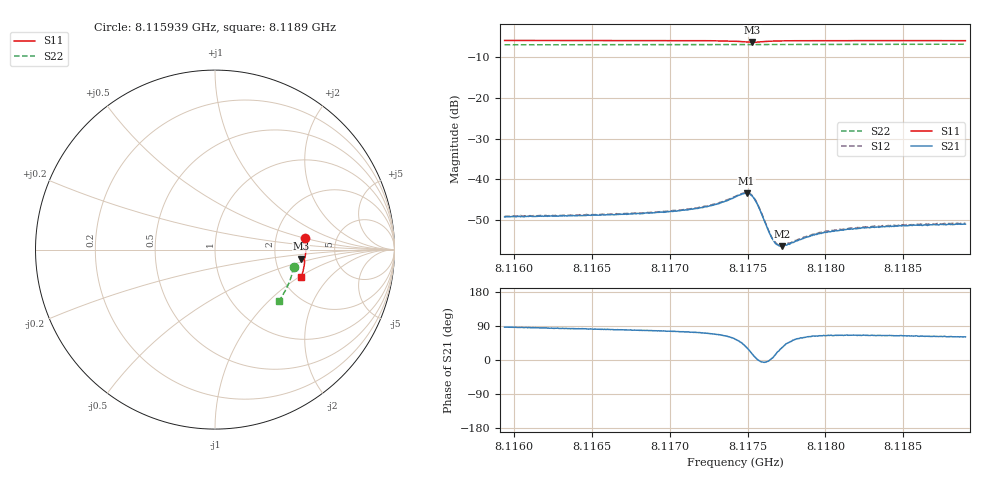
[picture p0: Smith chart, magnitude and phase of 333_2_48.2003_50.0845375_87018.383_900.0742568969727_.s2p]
#  HZ  S  RI  R  50.00
! Rohde & Schwarz Vector Network Analyzer
! Rohde-Schwarz,ZNB20-2Port,1311601062101988,3.16
! Created: UTC 3/20/2024, 11:50:58 AM
! freq[Hz]  re:S11  im:S11  re:S21  im:S21  re:S12  im:S12  re:S22  im:S22
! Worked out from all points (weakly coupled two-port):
!   401 points, 8.115939 GHz to 8.1189 GHz, reference 50 ohm
!   highest |S21| = -43.39 dB at 8.117493 GHz (marker M1); lowest = -56.4 dB at 8.117723 GHz (marker M2)
!   lowest |S11| = -6.3 dB at 8.11753 GHz (marker M3), VSWR 2.86, Z = 140 - j18.4 ohm
!   |S11| at or under -10 dB: nowhere
!   |S22| runs from -7.0 to -6.8 dB; largest |S21 - S12| = 0.00017
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8.1159387e9  0.5036 0.0628  0.000202 0.00347  0.000238 0.00354  0.4378 -0.0972
8.1164346e9  0.5061 0.0254  0.000456 0.00357  0.000564 0.00362  0.4304 -0.1306
8.1169306e9  0.5055 -0.0126  0.000877 0.00385  0.000966 0.00389  0.4202 -0.1638
8.1171009e9  0.5046 -0.0263  0.00116 0.00408  0.00123 0.0041  0.4163 -0.175
8.1172267e9  0.5027 -0.0373  0.0015 0.00439  0.00156 0.00445  0.413 -0.1831
8.1173304e9  0.4998 -0.047  0.00213 0.00474  0.00217 0.00479  0.4102 -0.19
8.1174192e9  0.4935 -0.0557  0.00344 0.00499  0.00357 0.00502  0.4075 -0.1957
8.1174636e9  0.4871 -0.0581  0.00471 0.00466  0.00485 0.00466  0.406 -0.1984
8.1174932e9  0.4819 -0.0569  0.00565 0.00373  0.00581 0.00375  0.405 -0.2001
8.1175154e9  0.4793 -0.0535  0.00605 0.00256  0.00622 0.00258  0.4042 -0.2012
8.1175302e9  0.4788 -0.0505  0.00599 0.00168  0.00614 0.00166  0.4039 -0.2019
8.117545e9  0.4798 -0.0476  0.00566 0.00086  0.00574 0.000859  0.4036 -0.2028
8.1175672e9  0.483 -0.0447  0.00477 1.01e-05  0.00484 -4.19e-05  0.403 -0.2039
8.1176339e9  0.4936 -0.0474  0.00235 -0.00013  0.00237 -0.000151  0.4016 -0.2082
8.1176635e9  0.4961 -0.0508  0.00182 0.000204  0.00182 0.000203  0.401 -0.2101
8.1176931e9  0.4975 -0.0541  0.00147 0.000589  0.00149 0.00054  0.4003 -0.2121
8.1177227e9  0.4984 -0.0575  0.00127 0.000832  0.00133 0.000859  0.3992 -0.214
8.1179152e9  0.4985 -0.0758  0.000932 0.00183  0.001 0.00186  0.3933 -0.2263
8.118004e9  0.4977 -0.0832  0.000981 0.00202  0.00103 0.00208  0.3903 -0.2317
8.1181521e9  0.4957 -0.095  0.00102 0.00222  0.00105 0.00229  0.3852 -0.2409
8.1184112e9  0.4915 -0.1145  0.00112 0.00239  0.00119 0.00243  0.376 -0.2566
8.1188997e9  0.4816 -0.15  0.00137 0.00248  0.00143 0.00252  0.3567 -0.285
